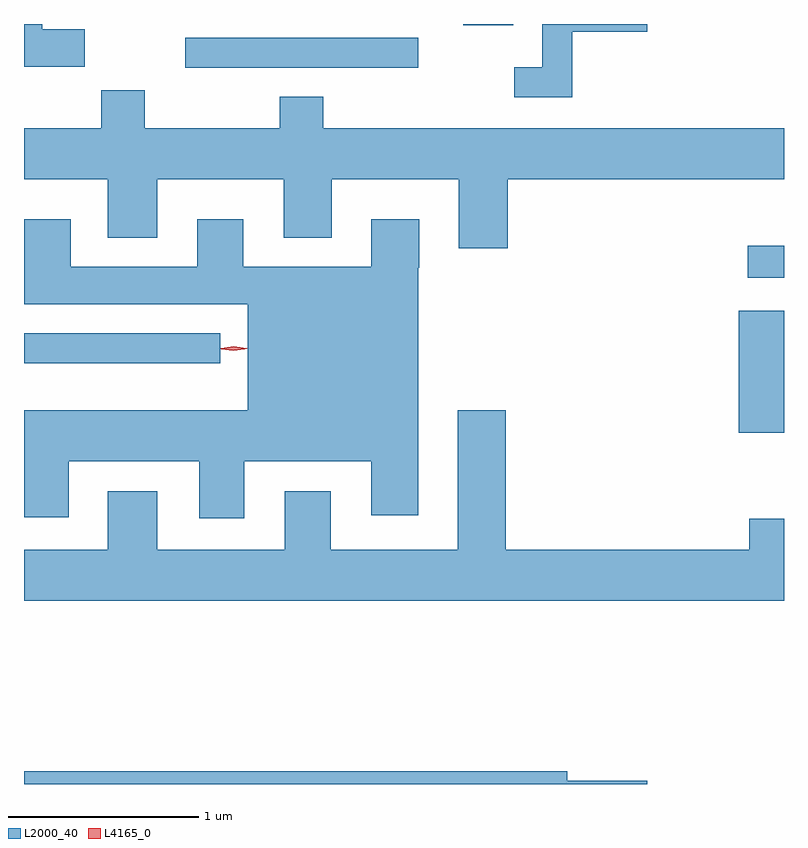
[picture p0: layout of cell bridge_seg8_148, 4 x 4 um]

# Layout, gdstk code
import gdstk
lib = gdstk.Library(unit=1e-6, precision=1e-09)
def R(c, l, rs):  # rectangles x0, y0, x1, y1
    for r in rs: c.add(gdstk.rectangle(r[:2], r[2:], *l))
def P(c, l, *ps):  # polygons
    for p in ps: c.add(gdstk.Polygon(p, *l))
L2000_40 = (2000, 40)
L4165_0 = (4165, 0)

bridge_seg8_148 = lib.new_cell('bridge_seg8_148')
R(bridge_seg8_148, L2000_40, [(1786.286,1857.281,1786.524,1857.924), (1782.524,1857.646,1783.558,1857.804), (1786.333,1858.096,1786.524,1858.264), (1783.373,1859.201,1784.598,1859.359), (1784.836,1859.426,1785.099,1859.432)])
P(bridge_seg8_148, L2000_40, [(1782.844,1859.404),(1782.619,1859.404),(1782.619,1859.432),(1782.524,1859.432),(1782.524,1859.206),(1782.844,1859.206)],
  [(1785.409,1859.391),(1785.804,1859.391),(1785.804,1859.432),(1785.251,1859.432),(1785.251,1859.204),(1785.103,1859.204),(1785.103,1859.046),(1785.409,1859.046)],
  [(1785.069,1858.616),(1786.524,1858.616),(1786.524,1858.884),(1784.099,1858.884),(1784.099,1859.049),(1783.871,1859.049),(1783.871,1858.884),(1783.159,1858.884),(1783.159,1859.084),(1782.931,1859.084),(1782.931,1858.884),(1782.524,1858.884),(1782.524,1858.616),(1782.966,1858.616),(1782.966,1858.306),(1783.224,1858.306),(1783.224,1858.616),(1783.891,1858.616),(1783.891,1858.306),(1784.144,1858.306),(1784.144,1858.616),(1784.811,1858.616),(1784.811,1858.251),(1785.069,1858.251)],
  [(1783.684,1857.131),(1784.351,1857.131),(1784.351,1856.846),(1784.599,1856.846),(1784.599,1858.15),(1784.604,1858.15),(1784.604,1858.404),(1784.351,1858.404),(1784.351,1858.154),(1783.679,1858.154),(1783.679,1858.404),(1783.436,1858.404),(1783.436,1858.154),(1782.769,1858.154),(1782.769,1858.404),(1782.524,1858.404),(1782.524,1857.956),(1783.701,1857.956),(1783.701,1857.399),(1782.524,1857.399),(1782.524,1856.836),(1782.759,1856.836),(1782.759,1857.131),(1783.446,1857.131),(1783.446,1856.831),(1783.684,1856.831)],
  [(1786.524,1856.829),(1786.341,1856.829),(1786.341,1856.664),(1785.059,1856.664),(1785.059,1857.399),(1784.806,1857.399),(1784.806,1856.664),(1784.139,1856.664),(1784.139,1856.974),(1783.896,1856.974),(1783.896,1856.664),(1783.224,1856.664),(1783.224,1856.974),(1782.966,1856.974),(1782.966,1856.664),(1782.524,1856.664),(1782.524,1856.396),(1786.524,1856.396)],
  [(1785.804,1855.449),(1785.384,1855.449),(1785.384,1855.499),(1782.524,1855.499),(1782.524,1855.432),(1785.804,1855.432)])
P(bridge_seg8_148, L4165_0, [(1783.625,1857.712),(1783.563,1857.721),(1783.563,1857.722),(1783.563,1857.722),(1783.625,1857.732),(1783.687,1857.722),(1783.687,1857.722),(1783.687,1857.721)],
  [(1783.629,1857.715),(1783.56,1857.724),(1783.559,1857.725),(1783.56,1857.725),(1783.629,1857.735),(1783.697,1857.725),(1783.698,1857.725),(1783.697,1857.724)])

lib.write_gds('bridge_seg8_148.gds')
